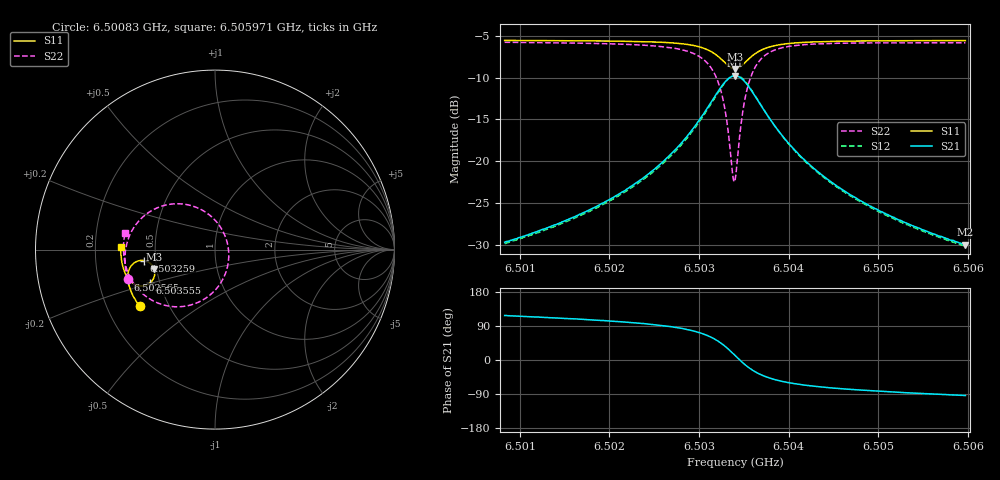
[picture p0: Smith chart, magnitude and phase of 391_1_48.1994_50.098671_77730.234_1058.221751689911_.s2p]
#  HZ  S  RI  R  50.00
! Rohde & Schwarz Vector Network Analyzer
! Rohde-Schwarz,ZNB20-2Port,1311601062101988,3.16
! Created: UTC 3/20/2024, 11:53:36 AM
! freq[Hz]  re:S11  im:S11  re:S21  im:S21  re:S12  im:S12  re:S22  im:S22
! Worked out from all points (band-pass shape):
!   401 points, 6.50083 GHz to 6.505971 GHz, reference 50 ohm
!   highest |S21| = -9.79 dB at 6.503401 GHz (marker M1); lowest = -30.0 dB at 6.505971 GHz (marker M2)
!   |S21| within 3 dB of the highest: 6.503144 GHz to 6.503658 GHz (514.7 kHz wide, 0.00791 % of centre)
!   lowest |S11| = -9.0 dB at 6.503401 GHz (marker M3), VSWR 2.11, Z = 24.2 - j6.06 ohm
!   |S11| at or under -10 dB: nowhere
!   |S22| runs from -22.5 to -5.8 dB; largest |S21 - S12| = 0.011
!   S11 on the Smith chart (normalised r, x): 6.50083 GHz: 0.34, -0.30; 6.502565 GHz: 0.33, -0.15; 6.503259 GHz: 0.43, -0.06; 6.503555 GHz: 0.44, -0.20; 6.505971 GHz: 0.31, +0.01
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6.5008303e9  -0.4206 -0.3165  -0.015 0.0292  -0.0133 0.0293  -0.4861 -0.1652
6.5016914e9  -0.4585 -0.2538  -0.0147 0.0465  -0.0122 0.0461  -0.5013 -0.0757
6.5021798e9  -0.4762 -0.2111  -0.0115 0.0662  -0.00867 0.0652  -0.4991 -0.00766
6.5025525e9  -0.4853 -0.1706  -0.00318 0.0945  0.000385 0.0922  -0.4811 0.0654
6.5025654e9  -0.4854 -0.1691  -0.00271 0.0958  0.000958 0.0935  -0.4801 0.0685
6.5028096e9  -0.4848 -0.1339  0.0155 0.1287  0.0193 0.1249  -0.442 0.1378
6.5029895e9  -0.4737 -0.1007  0.0498 0.1647  0.053 0.1594  -0.3745 0.2038
6.5031566e9  -0.4393 -0.0676  0.1266 0.1981  0.1278 0.1917  -0.2335 0.2546
6.5032594e9  -0.397 -0.0608  0.2112 0.1897  0.2115 0.1842  -0.0863 0.2277
6.5033108e9  -0.3717 -0.069  0.259 0.162  0.26 0.1575  -0.00679 0.1712
6.503375e9  -0.3452 -0.0951  0.3066 0.0994  0.3089 0.0947  0.065 0.051
6.5034008e9  -0.3389 -0.1093  0.3167 0.0677  0.3199 0.0621  0.0759 -0.00813
6.5034136e9  -0.3368 -0.117  0.3196 0.0514  0.3228 0.045  0.0768 -0.0383
6.5034907e9  -0.3426 -0.1613  0.3033 -0.0424  0.3052 -0.052  0.0207 -0.2019
6.503555e9  -0.3635 -0.1869  0.2613 -0.0961  0.2602 -0.1069  -0.074 -0.2841
6.5036578e9  -0.4024 -0.2021  0.1878 -0.1321  0.1826 -0.1413  -0.2216 -0.3185
6.5038249e9  -0.448 -0.1923  0.1073 -0.1294  0.1004 -0.1343  -0.3669 -0.2728
6.5040048e9  -0.4753 -0.1711  0.0632 -0.1097  0.0572 -0.1121  -0.4383 -0.2088
6.5042618e9  -0.4958 -0.1411  0.0336 -0.0862  0.029 -0.0866  -0.4813 -0.1377
6.5046603e9  -0.5119 -0.1002  0.0143 -0.0628  0.0112 -0.0625  -0.504 -0.0612
6.5051229e9  -0.521 -0.0578  0.0049 -0.047  0.00277 -0.0465  -0.5098 0.00237
6.5059712e9  -0.5257 0.0137  -0.00209 -0.0317  -0.00333 -0.0309  -0.5016 0.0909
